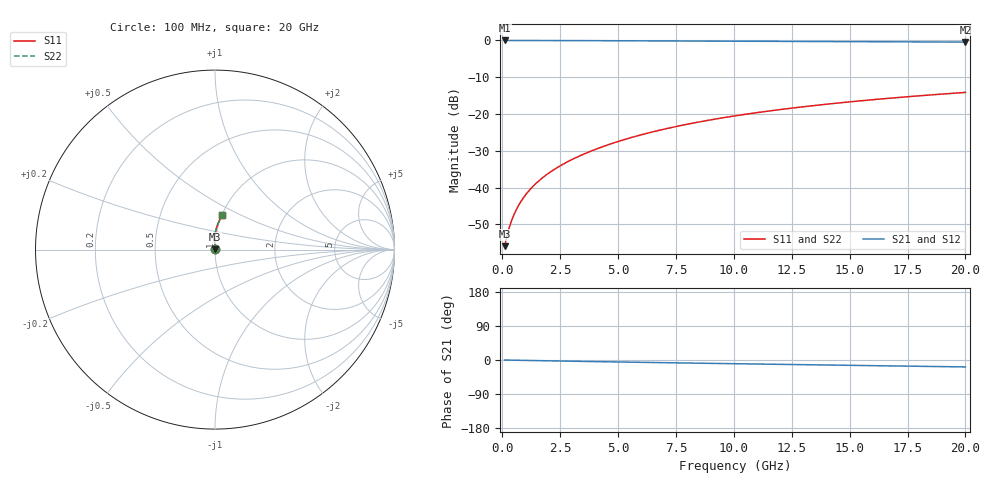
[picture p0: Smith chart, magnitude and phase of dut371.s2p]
! Touchstone file exported from HFSS 2024.1.0
!  File:  C:/UserFiles/LocalFiles/RDL_TSV_Batchsim/temp_RDL_bottom_371_1779613348.aedt
!  Generated:  05:05:24 PM May 24, 2026
!  Design:  RDL_bottom
!  Project:  temp_RDL_bottom_371_1779613348
!  Setup:  Setup1
!  Solution:  Sweep
! Variables:
!  dtsv = 10.80580581um
!  hbump = 3um
!  htsv = 55.3um
!  ldown = 219.76um
!  lrdl = 100um
!  p = 40
!  p1 = 57.82um
!  rhole = 1um
!  t = 450um
!  tdown = 2.68um
!  trdl = 3.915915916um
!  wdown = 28.71um
!  wrdl = 20um
# GHz S MA R 50.000000
! Terminal data exported
! Port[1] = RDL1_T1
! Port[2] = RDL1_T2
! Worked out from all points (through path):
!   200 points, 100 MHz to 20 GHz, reference 50 ohm
!   highest |S21| = -0.01 dB at 100 MHz (marker M1); lowest = -0.5 dB at 20 GHz (marker M2)
!   group delay of S21, straight-line fit = 2.5 ps
!   lowest |S11| = -55.9 dB at 100 MHz (marker M3), VSWR 1.00, Z = 50.1 + j0.0861 ohm
!   |S11| at or under -10 dB: start of sweep to end of sweep
!   |S22| runs from -55.9 to -14.1 dB; largest |S21 - S12| = 6.4e-15
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0.1  0.001603 32.4  0.9986 -0.1  0.9986 -0.1  0.001603 32.4
! Gamma 0 0 0 0
! Port Impedance 50 0 50 0
0.2  0.002189 49.9  0.9986 -0.2  0.9986 -0.2  0.002189 50.0
0.3  0.002857 59.4  0.9985 -0.3  0.9985 -0.3  0.002857 59.4
0.4  0.003549 65.3  0.9984 -0.5  0.9984 -0.5  0.00355 65.3
0.5  0.004257 69.5  0.9983 -0.6  0.9983 -0.6  0.004258 69.5
0.6  0.004978 72.6  0.9982 -0.7  0.9982 -0.7  0.004978 72.5
0.8  0.006446 76.9  0.998 -0.9  0.998 -0.9  0.006446 76.9
1.1  0.008697 80.9  0.9977 -1.2  0.9977 -1.2  0.008697 80.9
1.5  0.01177 84.2  0.9972 -1.6  0.9972 -1.6  0.01177 84.2
2.1  0.01651 87.3  0.9963 -2.3  0.9963 -2.3  0.01651 87.3
2.7  0.02146 89.2  0.9951 -2.9  0.9951 -2.9  0.02146 89.2
3.5  0.02839 90.9  0.9932 -3.7  0.9932 -3.7  0.02839 90.9
4.2  0.03476 91.7  0.9914 -4.4  0.9914 -4.4  0.03476 91.7
5  0.04236 92.1  0.9892 -5.2  0.9892 -5.2  0.04235 92.1
5.9  0.05124 92.0  0.9866 -6.1  0.9866 -6.1  0.05123 92.0
6.8  0.06038 91.7  0.984 -6.9  0.984 -6.9  0.06037 91.6
8.4  0.07704 90.4  0.9795 -8.4  0.9795 -8.4  0.07703 90.4
10.1  0.09499 88.7  0.9748 -9.9  0.9748 -9.9  0.09498 88.7
11.7  0.1119 87.0  0.9706 -11.3  0.9706 -11.3  0.1119 87.0
13.4  0.1297 85.1  0.9662 -12.7  0.9662 -12.7  0.1297 85.1
16.7  0.1637 81.5  0.9577 -15.5  0.9577 -15.5  0.1637 81.4
20  0.1966 78.0  0.9491 -18.3  0.9491 -18.3  0.1966 78.0
